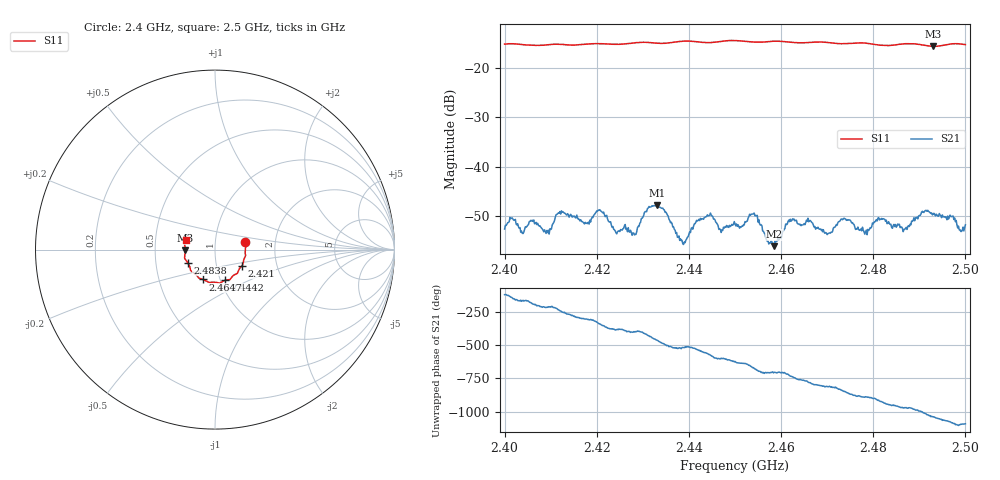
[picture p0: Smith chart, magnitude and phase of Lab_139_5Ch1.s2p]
# Hz S RI R 50
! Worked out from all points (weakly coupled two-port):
!   601 points, 2.4 GHz to 2.5 GHz, reference 50 ohm
!   highest |S21| = -47.78 dB at 2.433 GHz (marker M1); lowest = -56.0 dB at 2.4585 GHz (marker M2)
!   lowest |S11| = -15.6 dB at 2.493 GHz (marker M3), VSWR 1.40, Z = 35.8 - j0.245 ohm
!   |S11| at or under -10 dB: start of sweep to end of sweep
!   S12 and S22 are empty: the file has one direction only
!   S11 on the Smith chart (normalised r, x): 2.4 GHz: 1.40, +0.12; 2.421 GHz: 1.33, -0.24; 2.4442 GHz: 1.05, -0.37; 2.4647 GHz: 0.83, -0.29; 2.4838 GHz: 0.73, -0.11; 2.5 GHz: 0.72, +0.08
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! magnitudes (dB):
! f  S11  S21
! 2.4 GHz  -15.2  -52.6
! 2.4122 GHz  -15.3  -49.5
! 2.4167 GHz  -15.3  -51.0
! 2.421 GHz  -15.1  -49.0
! 2.4282 GHz  -14.9  -53.8
! 2.433 GHz  -15.0  -47.8
! 2.4333 GHz  -15.0  -48.2
! 2.4388 GHz  -14.6  -55.7
! 2.4442 GHz  -14.9  -49.9
! 2.45 GHz  -14.5  -51.5
! 2.4543 GHz  -14.8  -49.9
! 2.4585 GHz  -14.6  -56.0
! 2.462 GHz  -14.8  -50.6
! 2.4647 GHz  -14.9  -51.7
! 2.4667 GHz  -14.8  -51.2
! 2.47 GHz  -14.9  -53.7
! 2.4735 GHz  -15.1  -50.6
! 2.4783 GHz  -15.0  -53.2
! 2.4833 GHz  -15.5  -51.1
! 2.4838 GHz  -15.5  -51.6
! 2.493 GHz  -15.6  -49.6
! 2.5 GHz  -15.3  -51.7
